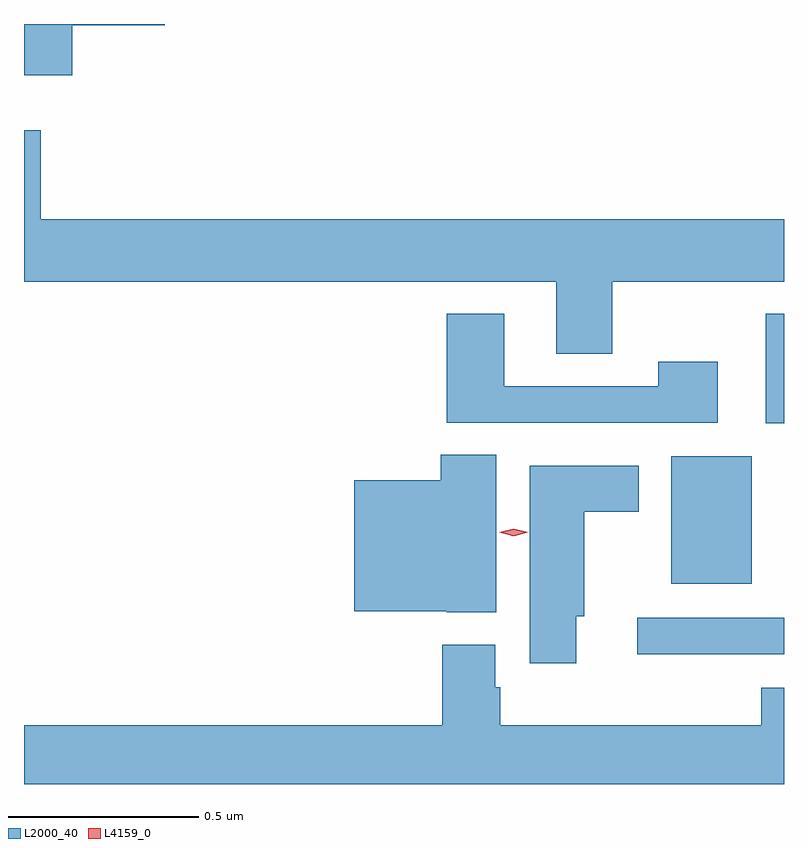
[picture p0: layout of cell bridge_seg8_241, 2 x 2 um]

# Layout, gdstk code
import gdstk
lib = gdstk.Library(unit=1e-6, precision=1e-09)
def R(c, l, rs):  # rectangles x0, y0, x1, y1
    for r in rs: c.add(gdstk.rectangle(r[:2], r[2:], *l))
def P(c, l, *ps):  # polygons
    for p in ps: c.add(gdstk.Polygon(p, *l))
L2000_40 = (2000, 40)
L4159_0 = (4159, 0)

bridge_seg8_241 = lib.new_cell('bridge_seg8_241')
R(bridge_seg8_241, L2000_40, [(354.123,1132.835,354.509,1132.932), (354.212,1133.021,354.424,1133.356), (354.461,1133.444,354.509,1133.731)])
P(bridge_seg8_241, L2000_40, [(352.636,1134.491),(352.879,1134.491),(352.879,1134.494),(352.509,1134.494),(352.509,1134.359),(352.636,1134.359)],
  [(354.057,1133.816),(354.509,1133.816),(354.509,1133.98),(352.553,1133.98),(352.553,1134.214),(352.509,1134.214),(352.509,1133.816),(353.909,1133.816),(353.909,1133.626),(354.057,1133.626)],
  [(354.334,1133.605),(354.178,1133.605),(354.178,1133.541),(353.773,1133.541),(353.773,1133.731),(353.621,1133.731),(353.621,1133.445),(354.334,1133.445)],
  [(353.752,1133.36),(353.606,1133.36),(353.606,1133.293),(353.378,1133.293),(353.378,1132.949),(353.622,1132.949),(353.622,1132.946),(353.752,1132.946)],
  [(353.962,1132.935),(353.983,1132.935),(353.983,1133.21),(354.127,1133.21),(354.127,1133.332),(353.84,1133.332),(353.84,1132.812),(353.962,1132.812)],
  [(353.609,1132.861),(353.609,1132.648),(352.509,1132.648),(352.509,1132.494),(354.509,1132.494),(354.509,1132.747),(354.449,1132.747),(354.449,1132.648),(353.762,1132.648),(353.762,1132.749),(353.749,1132.749),(353.749,1132.861)])
P(bridge_seg8_241, L4159_0, [(353.798,1133.146),(353.76,1133.156),(353.76,1133.156),(353.76,1133.156),(353.798,1133.166),(353.836,1133.156),(353.836,1133.156),(353.836,1133.156)])

lib.write_gds('bridge_seg8_241.gds')
